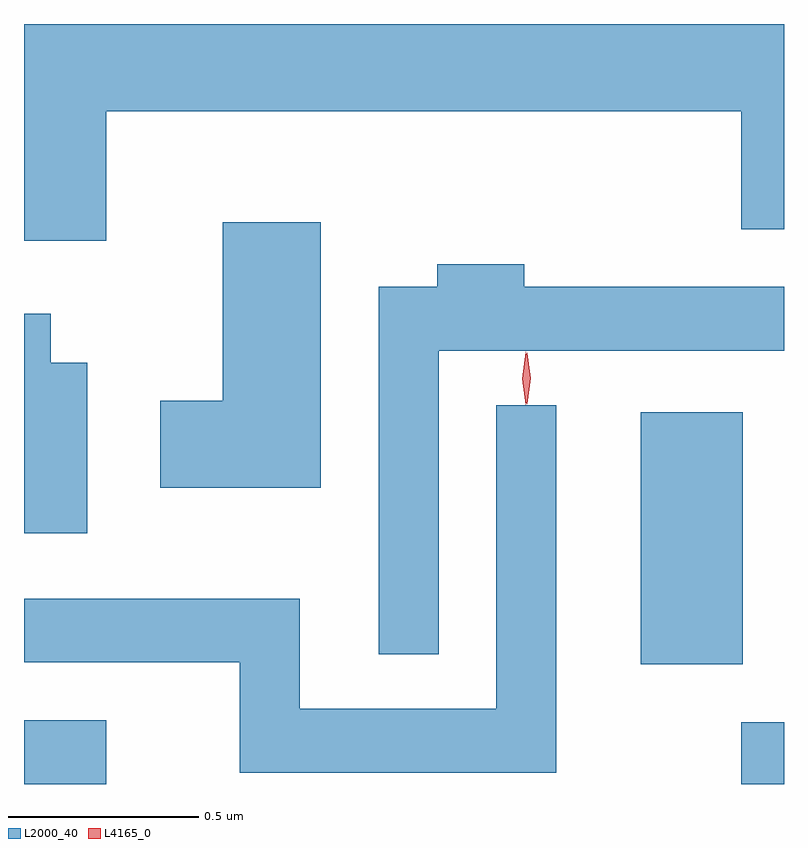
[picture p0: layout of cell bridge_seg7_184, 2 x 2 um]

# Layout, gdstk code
import gdstk
lib = gdstk.Library(unit=1e-6, precision=1e-09)
def R(c, l, rs):  # rectangles x0, y0, x1, y1
    for r in rs: c.add(gdstk.rectangle(r[:2], r[2:], *l))
def P(c, l, *ps):  # polygons
    for p in ps: c.add(gdstk.Polygon(p, *l))
L2000_40 = (2000, 40)
L4165_0 = (4165, 0)

bridge_seg7_184 = lib.new_cell('bridge_seg7_184')
R(bridge_seg7_184, L2000_40, [(1525.283,1670.366,1525.499,1670.534), (1527.171,1670.366,1527.283,1670.529), (1526.906,1670.681,1527.174,1671.344)])
P(bridge_seg7_184, L2000_40, [(1525.499,1672.136),(1527.171,1672.136),(1527.171,1671.826),(1527.283,1671.826),(1527.283,1672.366),(1525.283,1672.366),(1525.283,1671.796),(1525.499,1671.796)],
  [(1526.064,1671.844),(1525.806,1671.844),(1525.806,1671.374),(1525.641,1671.374),(1525.641,1671.146),(1526.064,1671.146)],
  [(1526.374,1671.506),(1527.283,1671.506),(1527.283,1671.674),(1526.599,1671.674),(1526.599,1671.734),(1526.371,1671.734),(1526.371,1671.674),(1526.216,1671.674),(1526.216,1670.708),(1526.374,1670.708)],
  [(1525.449,1671.474),(1525.354,1671.474),(1525.354,1671.604),(1525.283,1671.604),(1525.283,1671.026),(1525.449,1671.026)],
  [(1526.684,1671.363),(1526.526,1671.363),(1526.526,1670.564),(1526.009,1670.564),(1526.009,1670.854),(1525.283,1670.854),(1525.283,1670.686),(1525.851,1670.686),(1525.851,1670.396),(1526.684,1670.396)])
P(bridge_seg7_184, L4165_0, [(1526.603,1671.364),(1526.594,1671.433),(1526.603,1671.502),(1526.604,1671.503),(1526.604,1671.502),(1526.614,1671.433),(1526.604,1671.364),(1526.604,1671.364)],
  [(1526.606,1671.367),(1526.597,1671.434),(1526.606,1671.5),(1526.607,1671.501),(1526.607,1671.5),(1526.617,1671.434),(1526.607,1671.367),(1526.607,1671.367)])

lib.write_gds('bridge_seg7_184.gds')
